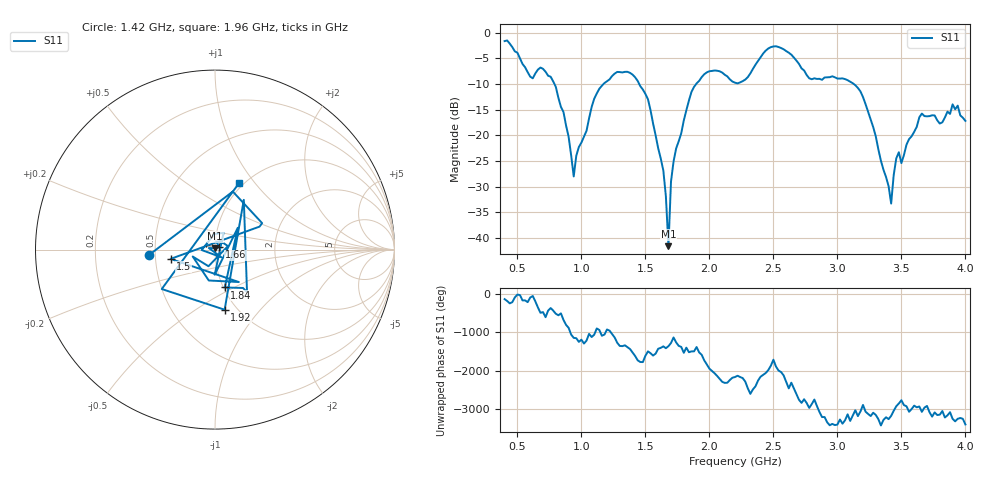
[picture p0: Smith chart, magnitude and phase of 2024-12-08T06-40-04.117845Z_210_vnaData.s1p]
!Created with skrf (http://scikit-rf.org).
# Hz S RI R 50.0
!freq ReS11 ImS11
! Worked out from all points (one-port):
!   181 points, 400 MHz to 4 GHz, reference 50 ohm
!   lowest |S11| = -41.6 dB at 1.68 GHz (marker M1), VSWR 1.02, Z = 50.1 + j0.822 ohm
!   |S11| at or under -10 dB: 789.2 MHz to 1.173 GHz (383.7 MHz wide, 39.1 % of centre); 1.452 GHz to 1.897 GHz (445 MHz wide, 26.6 % of centre); 3.128 GHz to end of sweep
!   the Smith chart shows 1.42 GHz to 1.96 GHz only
!   S11 on the Smith chart (normalised r, x): 1.42 GHz: 0.46, -0.03; 1.5 GHz: 0.60, -0.07; 1.66 GHz: 1.04, +0.03; 1.84 GHz: 1.02, -0.45; 1.92 GHz: 0.88, -0.66; 1.96 GHz: 0.95, +0.83
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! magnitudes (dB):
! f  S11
! 400 MHz  -1.6
! 600 MHz  -8.6
! 760 MHz  -8.6
! 860 MHz  -15.5
! 940 MHz  -28.0
! 1.1 GHz  -12.9
! 1.3 GHz  -7.7
! 1.42 GHz  -8.7
! 1.5 GHz  -11.9
! 1.66 GHz  -31.9
! 1.68 GHz  -41.6
! 1.7 GHz  -29.0
! 1.76 GHz  -21.2
! 1.84 GHz  -13.2
! 1.92 GHz  -9.4
! 1.96 GHz  -8.1
! 2.2 GHz  -9.7
! 2.48 GHz  -2.8
! 2.66 GHz  -4.8
! 3.1 GHz  -9.6
! 3.26 GHz  -16.9
! 3.42 GHz  -33.3
! 3.46 GHz  -24.5
! 3.56 GHz  -20.8
! 3.66 GHz  -15.8
! 3.8 GHz  -17.7
! 3.9 GHz  -14.0
! 4 GHz  -17.2
